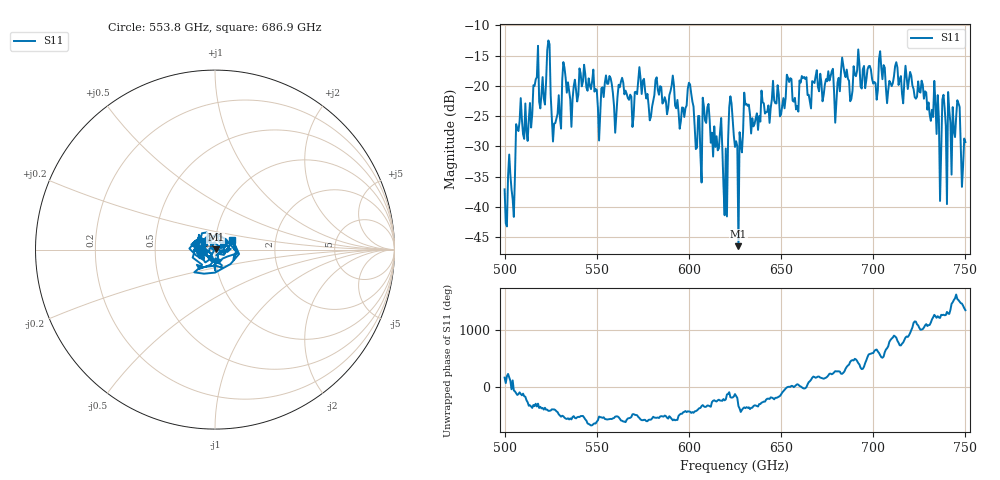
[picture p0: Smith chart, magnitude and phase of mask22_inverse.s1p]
!Created with skrf (http://scikit-rf.org).
# GHz S MA R 50.0
!freq magS11 angS11
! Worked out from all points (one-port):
!   401 points, 500 GHz to 750 GHz, reference 50 ohm
!   lowest |S11| = -46.5 dB at 626.9 GHz (marker M1), VSWR 1.01, Z = 50.4 + j0.199 ohm
!   |S11| at or under -10 dB: start of sweep to end of sweep
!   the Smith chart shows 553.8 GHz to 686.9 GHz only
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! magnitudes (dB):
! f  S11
! 500 GHz  -37.1
! 504.4 GHz  -38.7
! 507.5 GHz  -27.5
! 513.1 GHz  -25.6
! 516.9 GHz  -18.9
! 520.6 GHz  -18.6
! 523.8 GHz  -12.5
! 526.9 GHz  -26.2
! 531.2 GHz  -19.1
! 562.5 GHz  -20.2
! 593.8 GHz  -22.3
! 600.6 GHz  -19.8
! 605.6 GHz  -25.0
! 609.4 GHz  -26.1
! 616.9 GHz  -27.7
! 619.4 GHz  -41.4
! 622.5 GHz  -21.7
! 625 GHz  -30.1
! 626.9 GHz  -46.5
! 631.2 GHz  -23.0
! 635 GHz  -26.7
! 656.2 GHz  -22.4
! 687.5 GHz  -22.5
! 718.8 GHz  -20.5
! 734.4 GHz  -28.0
! 735.6 GHz  -25.5
! 745.6 GHz  -22.4
! 750 GHz  -29.3
